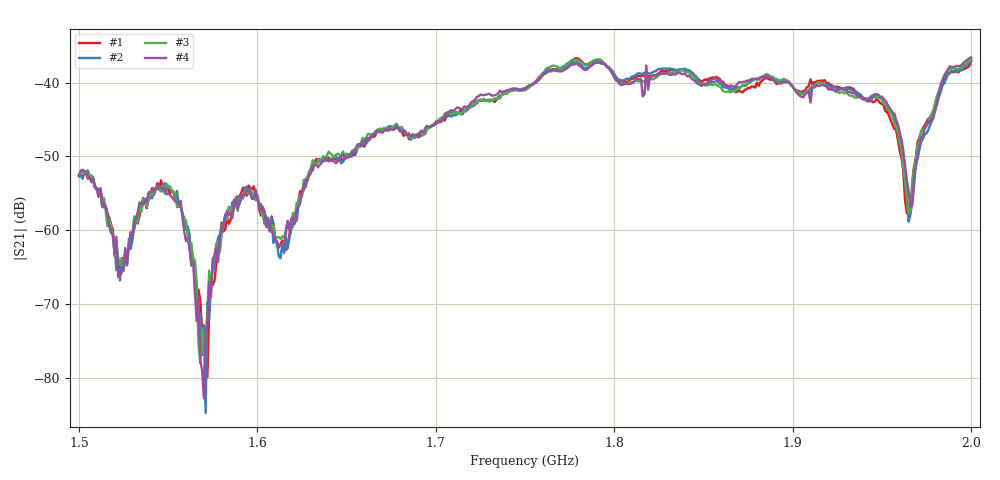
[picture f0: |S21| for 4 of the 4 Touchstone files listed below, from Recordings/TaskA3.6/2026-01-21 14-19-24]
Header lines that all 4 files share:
! NanoVNA-App by SYSJOINT et al v1.1.209 (+OD18)
! Start: 1,5GHz Stop: 2GHz Points: 501
! S-Parameter data: F S11 S21 S12 S22
# Hz S RI R 50
!  Frequency  S11_Real  S11_Imag  S21_Real  S21_Imag  S12_Real  S12_Imag  S22_Real  S22_Imag
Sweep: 1.5 GHz to 2 GHz
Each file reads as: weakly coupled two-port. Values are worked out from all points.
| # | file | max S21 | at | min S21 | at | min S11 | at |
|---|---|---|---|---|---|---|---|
| 1 | 0.s2p | -36.71 dB | 1.779 GHz | -79.9 dB | 1.572 GHz | -30.3 dB | 1.816 GHz |
| 2 | 1.s2p | -36.81 dB | 2 GHz | -84.8 dB | 1.571 GHz | -30.3 dB | 1.816 GHz |
| 3 | 2.s2p | -36.86 dB | 1.792 GHz | -78.0 dB | 1.568 GHz | -30.5 dB | 1.816 GHz |
| 4 | 3.s2p | -36.56 dB | 2 GHz | -82.8 dB | 1.57 GHz | -30.2 dB | 1.816 GHz |
